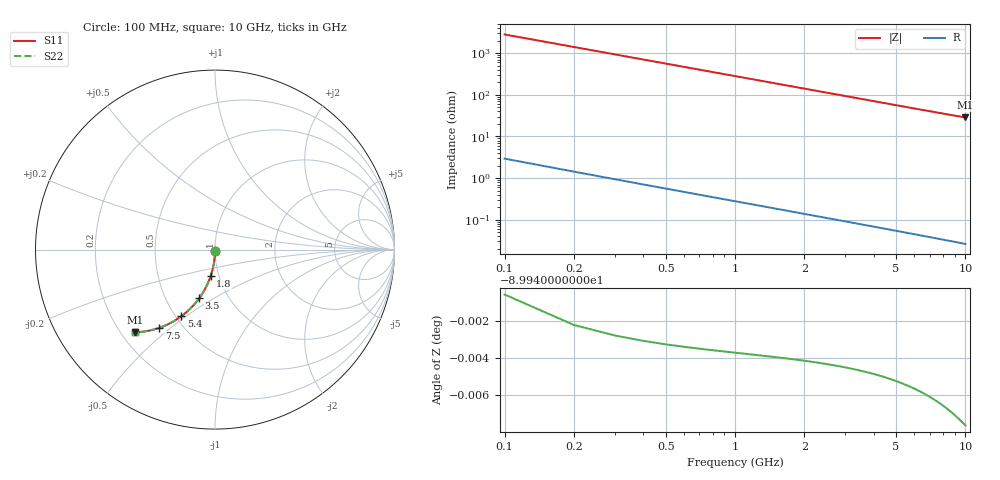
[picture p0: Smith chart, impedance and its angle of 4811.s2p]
# Hz S RI R 50.00
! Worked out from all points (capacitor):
!   100 points, 100 MHz to 10 GHz, reference 50 ohm
!   read as one part in shunt: C = 563 fF near 100 MHz
!   lowest |Z| = 28.6 ohm at 10 GHz (marker M1)
!   S11 on the Smith chart (normalised r, x): 100 MHz: 1.00, -0.02; 1.8 GHz: 0.91, -0.28; 3.5 GHz: 0.73, -0.43; 5.4 GHz: 0.53, -0.48; 7.5 GHz: 0.37, -0.46; 10 GHz: 0.25, -0.40
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1e8  -1.53e-05 -0.00849  0.9998 -0.00918  0.9998 -0.00918  -1.53e-05 -0.00849
2e8  -0.000257 -0.017  0.9996 -0.0184  0.9996 -0.0184  -0.000257 -0.017
3e8  -0.000655 -0.0255  0.9992 -0.0275  0.9992 -0.0275  -0.000655 -0.0255
4e8  -0.00121 -0.0339  0.9986 -0.0367  0.9986 -0.0367  -0.00121 -0.0339
5e8  -0.00192 -0.0424  0.9979 -0.0458  0.9979 -0.0458  -0.00192 -0.0424
6e8  -0.00278 -0.0508  0.9971 -0.055  0.9971 -0.055  -0.00278 -0.0508
8e8  -0.00497 -0.0676  0.9949 -0.0732  0.9949 -0.0732  -0.00497 -0.0676
1.1e9  -0.00938 -0.0925  0.9904 -0.1002  0.9904 -0.1002  -0.00938 -0.0925
1.4e9  -0.0151 -0.1171  0.9847 -0.1268  0.9847 -0.1268  -0.0151 -0.1171
1.8e9  -0.0248 -0.1491  0.975 -0.1616  0.975 -0.1616  -0.0248 -0.1491
2.1e9  -0.0335 -0.1724  0.9663 -0.187  0.9663 -0.187  -0.0335 -0.1724
2.5e9  -0.0468 -0.2024  0.9529 -0.2199  0.9529 -0.2199  -0.0468 -0.2024
2.9e9  -0.0621 -0.231  0.9376 -0.2513  0.9376 -0.2513  -0.0621 -0.231
3.4e9  -0.0835 -0.2646  0.916 -0.2884  0.916 -0.2884  -0.0835 -0.2646
3.5e9  -0.0881 -0.271  0.9114 -0.2955  0.9114 -0.2955  -0.0881 -0.271
4.3e9  -0.1276 -0.3184  0.8718 -0.3486  0.8718 -0.3486  -0.1276 -0.3184
5.1e9  -0.171 -0.3584  0.8281 -0.3944  0.8281 -0.3944  -0.171 -0.3584
5.4e9  -0.1881 -0.3715  0.8111 -0.4097  0.8111 -0.4097  -0.1881 -0.3715
6.7e9  -0.2639 -0.4168  0.7348 -0.4644  0.7348 -0.4644  -0.2639 -0.4168
7.5e9  -0.3107 -0.4359  0.6877 -0.4893  0.6877 -0.4893  -0.3107 -0.4359
8.4e9  -0.3621 -0.4503  0.6359 -0.5104  0.6359 -0.5104  -0.3621 -0.4503
1e10  -0.4476 -0.4608  0.5496 -0.5329  0.5496 -0.5329  -0.4476 -0.4608
